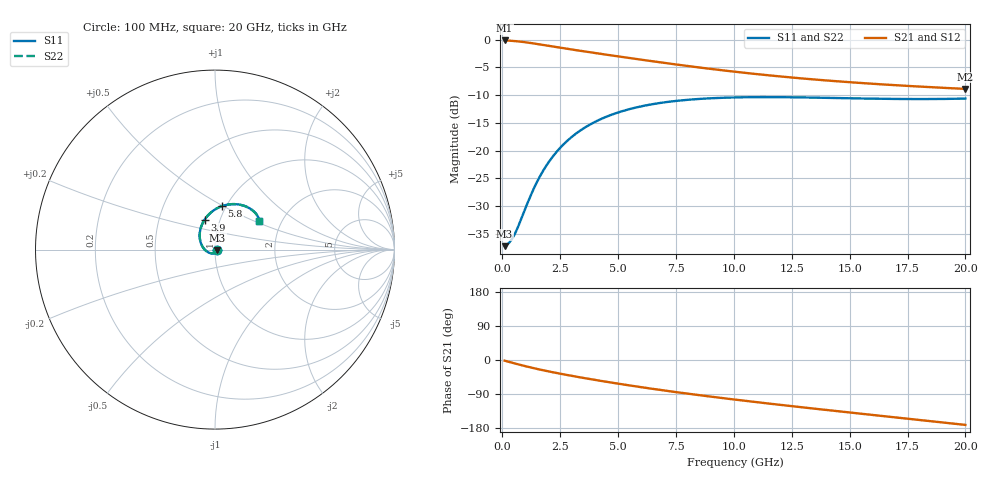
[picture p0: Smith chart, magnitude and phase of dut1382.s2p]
! Touchstone file exported from HFSS 2024.1.0
!  File:  C:/UserFiles/LocalFiles/RDL_TSV_Batchsim/temp_RDL_TSV_1382_1780401435.aedt
!  Generated:  08:13:47 PM Jun  2, 2026
!  Design:  RDL_TSV
!  Project:  temp_RDL_TSV_1382_1780401435
!  Setup:  Setup1
!  Solution:  Sweep
! Variables:
!  dtsv = 12.11um
!  hbump = 3um
!  htsv = 91.56um
!  ldown = 270.57um
!  lrdl = 308.74um
!  p = 40
!  p1 = 54.65um
!  rhole = 10um
!  subl = 2046.67um
!  t = 450um
!  tdown = 3.21um
!  trdl = 2.71um
!  viad = 10um
!  wdown = 14.5um
!  wrdl = 23.88um
!  xbump = 18um
# GHz S MA R 50.000000
! Terminal data exported
! Port[1] = TM1_1_T1
! Port[2] = TM1_4_T1
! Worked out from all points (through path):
!   200 points, 100 MHz to 20 GHz, reference 50 ohm
!   highest |S21| = -0.12 dB at 100 MHz (marker M1); lowest = -8.9 dB at 20 GHz (marker M2)
!   group delay of S21, straight-line fit = 22.2 ps
!   lowest |S11| = -37.3 dB at 100 MHz (marker M3), VSWR 1.03, Z = 51.3 - j0.354 ohm
!   |S11| at or under -10 dB: start of sweep to end of sweep
!   |S22| runs from -37.3 to -10.4 dB; largest |S21 - S12| = 9.2e-15
!   S11 on the Smith chart (normalised r, x): 100 MHz: 1.03, -0.01; 3.9 GHz: 0.84, +0.29; 5.8 GHz: 0.96, +0.49; 20 GHz: 1.54, +0.54
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0.1  0.0137 -14.6  0.9859 -1.7  0.9859 -1.7  0.0137 -14.6
! Gamma 0 0 0 0
! Port Impedance 50 0 50 0
0.3  0.01475 -44.8  0.9819 -5.2  0.9819 -5.2  0.01475 -44.8
0.5  0.01702 -75.4  0.9751 -8.5  0.9751 -8.5  0.01702 -75.4
0.7  0.02095 -103.4  0.9662 -11.7  0.9662 -11.7  0.02096 -103.4
1.3  0.04259 -161.3  0.9302 -20.8  0.9302 -20.8  0.04259 -161.3
1.6  0.05715 -179.8  0.9097 -24.9  0.9097 -24.9  0.05715 -179.8
1.9  0.07296 165.5  0.8888 -28.9  0.8888 -28.9  0.07296 165.6
2.2  0.08936 153.4  0.8683 -32.6  0.8683 -32.6  0.08935 153.4
2.6  0.1113 140.0  0.842 -37.3  0.842 -37.3  0.1113 140.1
3  0.1328 128.9  0.817 -41.9  0.817 -41.9  0.1327 128.9
3.5  0.1581 117.1  0.7875 -47.3  0.7875 -47.3  0.1581 117.1
3.9  0.1768 109.1  0.7651 -51.5  0.7651 -51.5  0.1768 109.1
4.8  0.2135 94.0  0.718 -60.5  0.718 -60.5  0.2135 94.0
5.8  0.2454 80.9  0.6701 -69.9  0.6701 -69.9  0.2453 80.9
6.8  0.2686 70.4  0.6265 -78.8  0.6265 -78.8  0.2686 70.4
8.4  0.2914 57.6  0.5658 -92.0  0.5658 -92.0  0.2914 57.5
10.1  0.3018 47.8  0.513 -104.9  0.513 -104.9  0.3019 47.8
11.7  0.3035 41.3  0.4732 -116.3  0.4732 -116.3  0.3036 41.3
13.4  0.3007 36.7  0.4394 -127.9  0.4394 -127.9  0.3007 36.6
15  0.2964 34.1  0.4139 -138.5  0.4139 -138.5  0.2965 34.0
16.7  0.2926 32.8  0.3921 -149.7  0.3921 -149.7  0.2927 32.8
20  0.2945 33.3  0.3602 -171.3  0.3602 -171.3  0.2945 33.2
